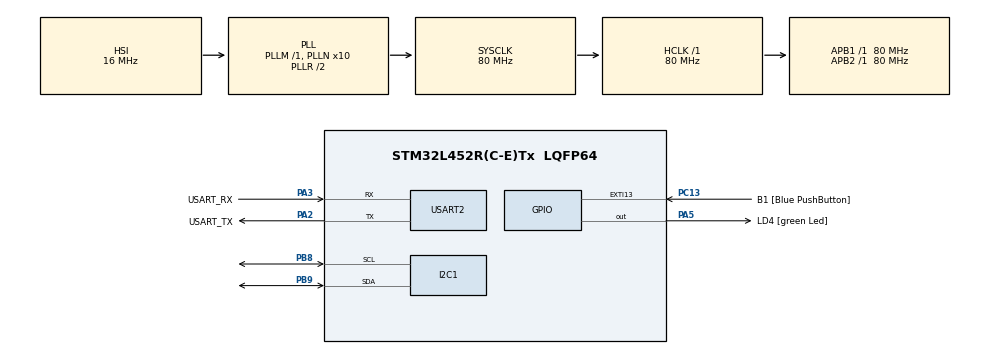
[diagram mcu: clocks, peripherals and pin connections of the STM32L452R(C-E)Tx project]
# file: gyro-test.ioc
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I2C1.Timing=0x10909CEC
Mcu.Family=STM32L4
Mcu.Name=STM32L452R(C-E)Tx
Mcu.Package=LQFP64
NVIC.PriorityGroup=NVIC_PRIORITYGROUP_4
PA13\ (JTMS/SWDIO).GPIO_Label=TMS
PA13\ (JTMS/SWDIO).Mode=Serial_Wire
PA13\ (JTMS/SWDIO).Signal=SYS_JTMS-SWDIO
PA14\ (JTCK/SWCLK).GPIO_Label=TCK
PA14\ (JTCK/SWCLK).Mode=Serial_Wire
PA14\ (JTCK/SWCLK).Signal=SYS_JTCK-SWCLK
PA2.GPIO_Label=USART_TX
PA2.GPIO_Mode=GPIO_MODE_AF_PP
PA2.GPIO_PuPd=GPIO_NOPULL
PA2.GPIO_Speed=GPIO_SPEED_FREQ_VERY_HIGH
PA2.Mode=Asynchronous
PA2.Signal=USART2_TX
PA3.GPIO_Label=USART_RX
PA3.GPIO_Mode=GPIO_MODE_AF_PP
PA3.GPIO_PuPd=GPIO_NOPULL
PA3.GPIO_Speed=GPIO_SPEED_FREQ_VERY_HIGH
PA3.Mode=Asynchronous
PA3.Signal=USART2_RX
PA5.GPIO_Label=LD4 [green Led]
PA5.GPIO_ModeDefaultOutputPP=GPIO_MODE_OUTPUT_PP
PA5.GPIO_PuPd=GPIO_NOPULL
PA5.GPIO_Speed=GPIO_SPEED_FREQ_LOW
PA5.Signal=GPIO_Output
PB3\ (JTDO/TRACESWO).GPIO_Label=SWO
PB3\ (JTDO/TRACESWO).Signal=SYS_JTDO-SWO
PB8.Mode=I2C
PB8.Signal=I2C1_SCL
PB9.Mode=I2C
PB9.Signal=I2C1_SDA
PC13.GPIO_Label=B1 [Blue PushButton]
PC13.GPIO_ModeDefaultEXTI=GPIO_MODE_IT_FALLING
PC13.GPIO_PuPd=GPIO_NOPULL
PC13.Signal=GPXTI13
PC14-OSC32_IN\ (PC14).Mode=LSE-External-Oscillator
PC14-OSC32_IN\ (PC14).Signal=RCC_OSC32_IN
PC15-OSC32_OUT\ (PC15).Mode=LSE-External-Oscillator
PC15-OSC32_OUT\ (PC15).Signal=RCC_OSC32_OUT
PH0-OSC_IN\ (PH0).Signal=RCC_OSC_IN
PH1-OSC_OUT\ (PH1).Signal=RCC_OSC_OUT
ProjectManager.HeapSize=0x200
ProjectManager.StackSize=0x400
ProjectManager.TargetToolchain=STM32CubeIDE
RCC.ADCFreq_Value=64000000
RCC.AHBFreq_Value=80000000
RCC.APB1Freq_Value=80000000
RCC.APB1TimFreq_Value=80000000
RCC.APB2Freq_Value=80000000
RCC.APB2TimFreq_Value=80000000
RCC.CortexFreq_Value=80000000
RCC.HCLKFreq_Value=80000000
RCC.HSE_VALUE=8000000
RCC.HSI48_VALUE=48000000
RCC.HSI_VALUE=16000000
RCC.MSI_VALUE=4000000
RCC.PLLN=10
RCC.PLLSourceVirtual=RCC_PLLSOURCE_HSI
RCC.PREFETCH_ENABLE=1
RCC.SYSCLKFreq_VALUE=80000000
RCC.SYSCLKSource=RCC_SYSCLKSOURCE_PLLCLK
RCC.USBFreq_Value=64000000
RCC.VCOOutputFreq_Value=160000000
USART2.VirtualMode-Asynchronous=VM_ASYNC
board=NUCLEO-L452RE

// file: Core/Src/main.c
/* USER CODE BEGIN Header */
/**
  ******************************************************************************
  * @file           : main.c
  * @brief          : Main program body
  ******************************************************************************
  * @attention
  *
  * Copyright (c) 2023 STMicroelectronics.
  * All rights reserved.
  *
  * This software is licensed under terms that can be found in the LICENSE file
  * in the root directory of this software component.
  * If no LICENSE file comes with this software, it is provided AS-IS.
  *
  ******************************************************************************
  */
/* USER CODE END Header */
#include "main.h"

/* USER CODE BEGIN Includes */
#include <string.h>
#include <stdio.h>
/* USER CODE END Includes */

/* USER CODE BEGIN PD */

/* START OF WORKAROUND ===========================*/
#define I2C1_SCL_Pin GPIO_PIN_8
#define I2C1_SCL_GPIO_Port GPIOB
#define I2C1_SDA_Pin GPIO_PIN_9
#define I2C1_SDA_GPIO_Port GPIOB
/* END OF WORKAROUND ===========================*/

/* Gyroscope ==================== */
//This is a list of registers in the ITG-3200. Registers are parameters that determine how the sensor will behave, or they can hold data that represent the
//sensors current status.
//To learn more about the registers on the ITG-3200, download and read the datasheet.
#define WHO_AM_I 		0x00
#define SMPLRT_DIV 		0x15
#define DLPF_FS 		0x16
#define GYRO_XOUT_H 	0x1D
#define GYRO_XOUT_L 	0x1E
#define GYRO_YOUT_H 	0x1F
#define GYRO_YOUT_L 	0x20
#define GYRO_ZOUT_H 	0x21
#define GYRO_ZOUT_L 	0x22

//This is a list of settings that can be loaded into the registers.
//DLPF, Full Scale Register Bits
//FS_SEL must be set to 3 for proper operation
//Set DLPF_CFG to 3 for 1kHz Fint and 42 Hz Low Pass Filter
#define DLPF_CFG_0 		1<<0
#define DLPF_CFG_1 		1<<1
#define DLPF_CFG_2 		1<<2
#define DLPF_FS_SEL_0 	1<<3
#define DLPF_FS_SEL_1 	1<<4
/* ============================== */

/* USER CODE END PD */

I2C_HandleTypeDef hi2c1;

UART_HandleTypeDef huart2;

/* USER CODE BEGIN PV */
#define itg_address 0x68<<1 // 0x68 is the 7 bit slave address [0b1101000]
/* USER CODE END PV */

void SystemClock_Config(void);
static void MX_GPIO_Init(void);
static void MX_USART2_UART_Init(void);
static void MX_I2C1_Init(void);
/* USER CODE BEGIN PFP */

uint8_t data_rec[6]; // TODO: may have to change array size
int16_t x, y, z; // RAW xyz values
float xf, yf, zf; // RAW but in float
float xd, yd, zd;

// function definitions
void itg_read (uint8_t, uint8_t);
void itg_write (uint8_t, uint8_t);
void itg_init (void);
void readXYZ (void);
void calibrate (void);
void convert (void);

/* START OF WORKAROUND ===========================*/
typedef struct
 {
    I2C_HandleTypeDef* instance;
    uint16_t sdaPin;
    GPIO_TypeDef* sdaPort;
    uint16_t sclPin;
    GPIO_TypeDef* sclPort;
} I2C_Module_t;

static uint8_t wait_for_gpio_state_timeout(GPIO_TypeDef *port, uint16_t pin, GPIO_PinState state, uint32_t timeout)
 {
    uint32_t Tickstart = HAL_GetTick();
    uint8_t ret = 1; // replaced TRUE
    /* Wait until flag is set */
    for(;(state != HAL_GPIO_ReadPin(port, pin)) && (1 == ret);) // replaced TRUE with 1
    {
        /* Check for the timeout */
        if (timeout != HAL_MAX_DELAY)
        {
            if ((timeout == 0U) || ((HAL_GetTick() - Tickstart) > timeout))
            {
                ret = 0; // replaced FALSE
            }
            else
            {
            }
        }
        asm("nop");
    }
    return ret;
}

static void I2C_ClearBusyFlagErratum(I2C_Module_t* i2c, uint32_t timeout)
{
    GPIO_InitTypeDef GPIO_InitStructure;

    I2C_HandleTypeDef* handler = NULL;

    handler = i2c->instance;

    // 1. Clear PE bit.
    CLEAR_BIT(handler->Instance->CR1, I2C_CR1_PE);

    //  2. Configure the SCL and SDA I/Os as General Purpose Output Open-Drain, High level (Write 1 to GPIOx_ODR).
    HAL_I2C_DeInit(handler);

    GPIO_InitStructure.Mode = GPIO_MODE_OUTPUT_OD;
    GPIO_InitStructure.Pull = GPIO_NOPULL;

    GPIO_InitStructure.Pin = i2c->sclPin;
    HAL_GPIO_Init(i2c->sclPort, &GPIO_InitStructure);

    GPIO_InitStructure.Pin = i2c->sdaPin;
    HAL_GPIO_Init(i2c->sdaPort, &GPIO_InitStructure);

    // 3. Check SCL and SDA High level in GPIOx_IDR.
    HAL_GPIO_WritePin(i2c->sdaPort, i2c->sdaPin, GPIO_PIN_SET);
    HAL_GPIO_WritePin(i2c->sclPort, i2c->sclPin, GPIO_PIN_SET);

    wait_for_gpio_state_timeout(i2c->sclPort, i2c->sclPin, GPIO_PIN_SET, timeout);
    wait_for_gpio_state_timeout(i2c->sdaPort, i2c->sdaPin, GPIO_PIN_SET, timeout);

    // 4. Configure the SDA I/O as General Purpose Output Open-Drain, Low level (Write 0 to GPIOx_ODR).
    HAL_GPIO_WritePin(i2c->sdaPort, i2c->sdaPin, GPIO_PIN_RESET);

    // 5. Check SDA Low level in GPIOx_IDR.
    wait_for_gpio_state_timeout(i2c->sdaPort, i2c->sdaPin, GPIO_PIN_RESET, timeout);

    // 6. Configure the SCL I/O as General Purpose Output Open-Drain, Low level (Write 0 to GPIOx_ODR).
    HAL_GPIO_WritePin(i2c->sclPort, i2c->sclPin, GPIO_PIN_RESET);

    // 7. Check SCL Low level in GPIOx_IDR.
    wait_for_gpio_state_timeout(i2c->sclPort, i2c->sclPin, GPIO_PIN_RESET, timeout);

    // 8. Configure the SCL I/O as General Purpose Output Open-Drain, High level (Write 1 to GPIOx_ODR).
    HAL_GPIO_WritePin(i2c->sclPort, i2c->sclPin, GPIO_PIN_SET);

    // 9. Check SCL High level in GPIOx_IDR.
    wait_for_gpio_state_timeout(i2c->sclPort, i2c->sclPin, GPIO_PIN_SET, timeout);

    // 10. Configure the SDA I/O as General Purpose Output Open-Drain , High level (Write 1 to GPIOx_ODR).
    HAL_GPIO_WritePin(i2c->sdaPort, i2c->sdaPin, GPIO_PIN_SET);

    // 11. Check SDA High level in GPIOx_IDR.
    wait_for_gpio_state_timeout(i2c->sdaPort, i2c->sdaPin, GPIO_PIN_SET, timeout);

    // 12. Configure the SCL and SDA I/Os as Alternate function Open-Drain.
    GPIO_InitStructure.Mode = GPIO_MODE_AF_OD;
    GPIO_InitStructure.Alternate = GPIO_AF4_I2C2;

    GPIO_InitStructure.Pin = i2c->sclPin;
    HAL_GPIO_Init(i2c->sclPort, &GPIO_InitStructure);

    GPIO_InitStructure.Pin = i2c->sdaPin;
    HAL_GPIO_Init(i2c->sdaPort, &GPIO_InitStructure);

    // 13. Set SWRST bit in I2Cx_CR1 register.
    SET_BIT(handler->Instance->CR1, I2C_CR1_SWRST);
    asm("nop");

    /* 14. Clear SWRST bit in I2Cx_CR1 register. */
    CLEAR_BIT(handler->Instance->CR1, I2C_CR1_SWRST);
    asm("nop");

    /* 15. Enable the I2C peripheral by setting the PE bit in I2Cx_CR1 register */
    SET_BIT(handler->Instance->CR1, I2C_CR1_PE);
    asm("nop");

    // Call initialization function.
    HAL_I2C_Init(handler);
}

/* END OF WORKAROUND ===========================*/

// read function
void itg_read (uint8_t reg, uint8_t numberofbytes) {
//	HAL_I2C_Mem_Read (&hi2c1, itg_address, reg, 1, data_rec, numberofbytes, HAL_MAX_DELAY); // original
	/*
	 * HAL_I2C_Mem_Read(I2C_HandleTypeDef *hi2c, uint16_t DevAddress, uint16_t MemAddress,
                                   uint16_t MemAddSize, uint8_t *pData, uint16_t Size, uint32_t Timeout)
	 */

	HAL_StatusTypeDef status = HAL_I2C_Mem_Read (&hi2c1, itg_address, reg, 1, data_rec, numberofbytes, 1000);

	/* START OF WORKAROUND ===========================*/
	if (HAL_BUSY == status) // HAL_ERROR, HAL_OK, HAL_BUSY
	{
		// create struct
		I2C_Module_t example;
		example.instance = &hi2c1;
		example.sdaPin = I2C1_SDA_Pin;
		example.sdaPort = I2C1_SDA_GPIO_Port;
		example.sclPin = I2C1_SCL_Pin;
		example.sclPort = I2C1_SCL_GPIO_Port;

		// workaround
		I2C_ClearBusyFlagErratum(&example, 1000);
	}
	/* END OF WORKAROUND ===========================*/

}

void itg_write (uint8_t reg, uint8_t value) {
	uint8_t data[2];
	data[0] = reg;
	data[1] = value;
	HAL_StatusTypeDef status = HAL_I2C_Master_Transmit (&hi2c1, itg_address, data, 2, 1000); // changed from 10 to 1000

	/* just for checking == */
	if (HAL_OK == status) {
		data[0] = 1;
	} else {
		data[1] = 2;
	}
	/* ==================== */

}

void itg_init (void) {
	itg_read(0x00,1); // read gyroscope ID, 0x68 or 0x69

	//Set the gyroscope scale for the outputs to +/-2000 degrees per second (FS_SEL = 3)
//	itg_write(DLPF_FS, (DLPF_FS_SEL_0|DLPF_FS_SEL_1|DLPF_CFG_0));
	itg_write(DLPF_FS, DLPF_CFG_0);

	//Set the sample rate to 100 hz
	itg_write(SMPLRT_DIV, 9);
}

void readXYZ (void) {
	itg_read(0x1D,6);
	x = (data_rec[1]<<8) | data_rec[0];
	y = (data_rec[3]<<8) | data_rec[2];
	z = (data_rec[5]<<8) | data_rec[4];

	// test
	xf = (float) x;
	yf = (float) y;
	zf = (float) z;
}

void calibrateRAW (void) {
	xf = xf - 24648;
	yf = yf + 26442;
	zf = zf + 2305;
}

void calibrateDEG (void) {
	xd = xd - 1691;
	yd = yd + 1905;
	zd = zd + 124;
}

void convert (void) {
	xd = xf / 14.375 ;
	yd = yf / 14.375 ;
	zd = zf / 14.375 ;
}

/* USER CODE END PFP */

int main(void)
{

  /* MCU Configuration--------------------------------------------------------*/

  /* Reset of all peripherals, Initializes the Flash interface and the Systick. */
  HAL_Init();

  /* Configure the system clock */
  SystemClock_Config();

  /* Initialize all configured peripherals */
  MX_GPIO_Init();
  MX_USART2_UART_Init();
  MX_I2C1_Init();
  /* USER CODE BEGIN 2 */
  itg_init();
  /* USER CODE END 2 */

  /* Infinite loop */
  while (1)
  {

    /* USER CODE BEGIN 3 */

	// read the x,y and z output rates from the gyroscope.
	readXYZ();

	calibrateRAW();

	// conversion from RAW to deg/s under test condition FS_SEL = 3
	convert();

//	calibrateDEG();

	// wait 10ms before reading the values again. (Remember, the output rate was set to 100hz and 1reading per 10ms = 100hz.)
	HAL_Delay(10);

  }
  /* USER CODE END 3 */
}

void SystemClock_Config(void)
{
  RCC_OscInitTypeDef RCC_OscInitStruct = {0};
  RCC_ClkInitTypeDef RCC_ClkInitStruct = {0};

  /** Configure the main internal regulator output voltage
  */
  if (HAL_PWREx_ControlVoltageScaling(PWR_REGULATOR_VOLTAGE_SCALE1) != HAL_OK)
  {
    Error_Handler();
  }

  /** Initializes the RCC Oscillators according to the specified parameters
  * in the RCC_OscInitTypeDef structure.
  */
  RCC_OscInitStruct.OscillatorType = RCC_OSCILLATORTYPE_HSI;
  RCC_OscInitStruct.HSIState = RCC_HSI_ON;
  RCC_OscInitStruct.HSICalibrationValue = RCC_HSICALIBRATION_DEFAULT;
  RCC_OscInitStruct.PLL.PLLState = RCC_PLL_ON;
  RCC_OscInitStruct.PLL.PLLSource = RCC_PLLSOURCE_HSI;
  RCC_OscInitStruct.PLL.PLLM = 1;
  RCC_OscInitStruct.PLL.PLLN = 10;
  RCC_OscInitStruct.PLL.PLLP = RCC_PLLP_DIV7;
  RCC_OscInitStruct.PLL.PLLQ = RCC_PLLQ_DIV2;
  RCC_OscInitStruct.PLL.PLLR = RCC_PLLR_DIV2;
  if (HAL_RCC_OscConfig(&RCC_OscInitStruct) != HAL_OK)
  {
    Error_Handler();
  }

  /** Initializes the CPU, AHB and APB buses clocks
  */
  RCC_ClkInitStruct.ClockType = RCC_CLOCKTYPE_HCLK|RCC_CLOCKTYPE_SYSCLK
                              |RCC_CLOCKTYPE_PCLK1|RCC_CLOCKTYPE_PCLK2;
  RCC_ClkInitStruct.SYSCLKSource = RCC_SYSCLKSOURCE_PLLCLK;
  RCC_ClkInitStruct.AHBCLKDivider = RCC_SYSCLK_DIV1;
  RCC_ClkInitStruct.APB1CLKDivider = RCC_HCLK_DIV1;
  RCC_ClkInitStruct.APB2CLKDivider = RCC_HCLK_DIV1;

  if (HAL_RCC_ClockConfig(&RCC_ClkInitStruct, FLASH_LATENCY_4) != HAL_OK)
  {
    Error_Handler();
  }
}

static void MX_I2C1_Init(void)
{

  hi2c1.Instance = I2C1;
  hi2c1.Init.Timing = 0x10909CEC;
  hi2c1.Init.OwnAddress1 = 0;
  hi2c1.Init.AddressingMode = I2C_ADDRESSINGMODE_7BIT;
  hi2c1.Init.DualAddressMode = I2C_DUALADDRESS_DISABLE;
  hi2c1.Init.OwnAddress2 = 0;
  hi2c1.Init.OwnAddress2Masks = I2C_OA2_NOMASK;
  hi2c1.Init.GeneralCallMode = I2C_GENERALCALL_DISABLE;
  hi2c1.Init.NoStretchMode = I2C_NOSTRETCH_DISABLE;
  if (HAL_I2C_Init(&hi2c1) != HAL_OK)
  {
    Error_Handler();
  }

  /** Configure Analogue filter
  */
  if (HAL_I2CEx_ConfigAnalogFilter(&hi2c1, I2C_ANALOGFILTER_ENABLE) != HAL_OK)
  {
    Error_Handler();
  }

  /** Configure Digital filter
  */
  if (HAL_I2CEx_ConfigDigitalFilter(&hi2c1, 0) != HAL_OK)
  {
    Error_Handler();
  }

}

static void MX_USART2_UART_Init(void)
{

  huart2.Instance = USART2;
  huart2.Init.BaudRate = 115200;
  huart2.Init.WordLength = UART_WORDLENGTH_8B;
  huart2.Init.StopBits = UART_STOPBITS_1;
  huart2.Init.Parity = UART_PARITY_NONE;
  huart2.Init.Mode = UART_MODE_TX_RX;
  huart2.Init.HwFlowCtl = UART_HWCONTROL_NONE;
  huart2.Init.OverSampling = UART_OVERSAMPLING_16;
  huart2.Init.OneBitSampling = UART_ONE_BIT_SAMPLE_DISABLE;
  huart2.AdvancedInit.AdvFeatureInit = UART_ADVFEATURE_NO_INIT;
  if (HAL_UART_Init(&huart2) != HAL_OK)
  {
    Error_Handler();
  }

}

static void MX_GPIO_Init(void)
{
  GPIO_InitTypeDef GPIO_InitStruct = {0};

  /* GPIO Ports Clock Enable */
  __HAL_RCC_GPIOC_CLK_ENABLE();
  __HAL_RCC_GPIOH_CLK_ENABLE();
  __HAL_RCC_GPIOA_CLK_ENABLE();
  __HAL_RCC_GPIOB_CLK_ENABLE();

  /*Configure GPIO pin Output Level */
  HAL_GPIO_WritePin(LD4_GPIO_Port, LD4_Pin, GPIO_PIN_RESET);

  /*Configure GPIO pin : B1_Pin */
  GPIO_InitStruct.Pin = B1_Pin;
  GPIO_InitStruct.Mode = GPIO_MODE_IT_FALLING;
  GPIO_InitStruct.Pull = GPIO_NOPULL;
  HAL_GPIO_Init(B1_GPIO_Port, &GPIO_InitStruct);

  /*Configure GPIO pin : LD4_Pin */
  GPIO_InitStruct.Pin = LD4_Pin;
  GPIO_InitStruct.Mode = GPIO_MODE_OUTPUT_PP;
  GPIO_InitStruct.Pull = GPIO_NOPULL;
  GPIO_InitStruct.Speed = GPIO_SPEED_FREQ_LOW;
  HAL_GPIO_Init(LD4_GPIO_Port, &GPIO_InitStruct);

}

void Error_Handler(void)
{
  __disable_irq();
  while (1)
  {
  }
}
